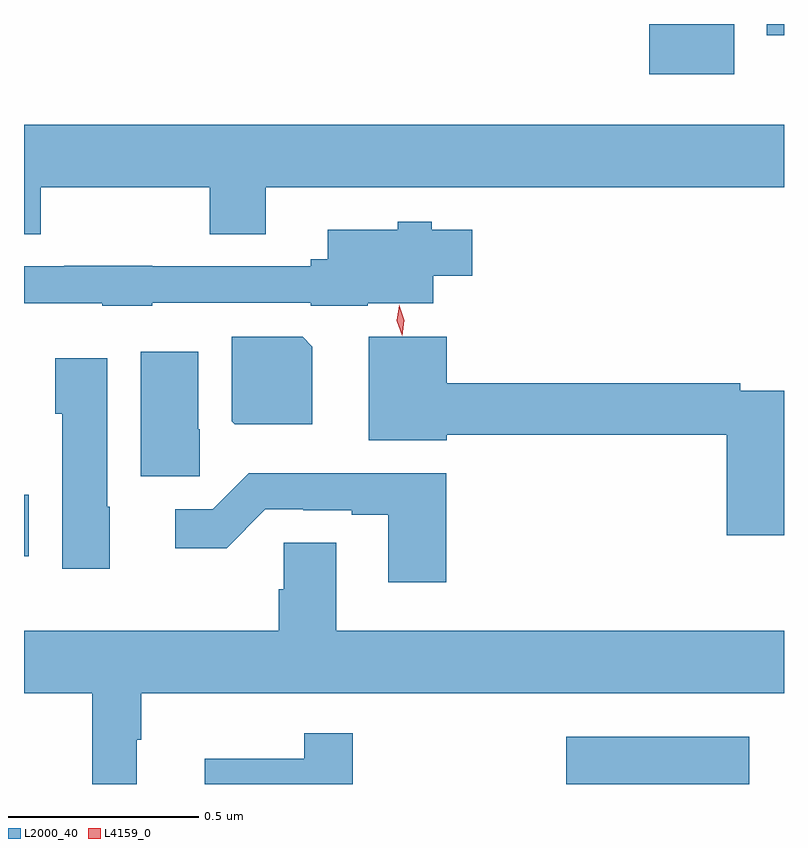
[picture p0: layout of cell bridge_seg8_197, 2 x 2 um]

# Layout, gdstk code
import gdstk
lib = gdstk.Library(unit=1e-6, precision=1e-09)
def R(c, l, rs):  # rectangles x0, y0, x1, y1
    for r in rs: c.add(gdstk.rectangle(r[:2], r[2:], *l))
def P(c, l, *ps):  # polygons
    for p in ps: c.add(gdstk.Polygon(p, *l))
L2000_40 = (2000, 40)
L4159_0 = (4159, 0)

bridge_seg8_197 = lib.new_cell('bridge_seg8_197')
R(bridge_seg8_197, L2000_40, [(251.49,1089.621,251.971,1089.745), (250.063,1090.221,250.075,1090.382), (251.708,1091.489,251.932,1091.621), (252.017,1091.592,252.063,1091.621)])
P(bridge_seg8_197, L2000_40, [(250.107,1091.192),(250.552,1091.192),(250.552,1091.068),(250.699,1091.068),(250.699,1091.192),(252.063,1091.192),(252.063,1091.356),(250.063,1091.356),(250.063,1091.068),(250.107,1091.068)],
  [(250.401,1090.887),(250.818,1090.887),(250.818,1090.88),(250.968,1090.88),(250.968,1090.886),(251.14,1090.886),(251.14,1090.958),(251.242,1090.958),(251.242,1091.08),(251.136,1091.08),(251.136,1091.101),(251.046,1091.101),(251.046,1091.08),(250.862,1091.08),(250.862,1091.002),(250.818,1091.002),(250.818,1090.983),(250.401,1090.983),(250.401,1090.985),(250.169,1090.985),(250.169,1090.983),(250.063,1090.983),(250.063,1090.886),(250.269,1090.886),(250.269,1090.88),(250.401,1090.88)],
  [(252.063,1090.656),(251.948,1090.656),(251.948,1090.676),(251.176,1090.676),(251.176,1090.798),(250.97,1090.798),(250.97,1090.526),(251.176,1090.526),(251.176,1090.54),(251.912,1090.54),(251.912,1090.275),(252.063,1090.275)],
  [(250.822,1090.772),(250.796,1090.798),(250.61,1090.798),(250.61,1090.576),(250.618,1090.568),(250.822,1090.568)],
  [(250.526,1090.554),(250.522,1090.554),(250.522,1090.759),(250.37,1090.759),(250.37,1090.431),(250.526,1090.431)],
  [(250.288,1090.35),(250.282,1090.35),(250.282,1090.741),(250.145,1090.741),(250.145,1090.596),(250.163,1090.596),(250.163,1090.188),(250.288,1090.188)],
  [(251.174,1090.439),(250.655,1090.439),(250.56,1090.344),(250.461,1090.344),(250.461,1090.242),(250.596,1090.242),(250.698,1090.344),(250.798,1090.344),(250.798,1090.341),(250.925,1090.341),(250.925,1090.329),(251.021,1090.329),(251.021,1090.152),(251.174,1090.152)],
  [(250.36,1089.737),(250.372,1089.737),(250.372,1089.86),(252.063,1089.86),(252.063,1090.024),(250.885,1090.024),(250.885,1090.256),(250.746,1090.256),(250.746,1090.134),(250.733,1090.134),(250.733,1090.024),(250.063,1090.024),(250.063,1089.86),(250.243,1089.86),(250.243,1089.621),(250.36,1089.621)],
  [(250.928,1089.754),(250.8,1089.754),(250.8,1089.688),(250.538,1089.688),(250.538,1089.621),(250.928,1089.621)])
P(bridge_seg8_197, L4159_0, [(251.058,1090.8),(251.058,1090.8),(251.044,1090.84),(251.05,1090.881),(251.051,1090.882),(251.051,1090.881),(251.064,1090.841),(251.058,1090.8)])

lib.write_gds('bridge_seg8_197.gds')
